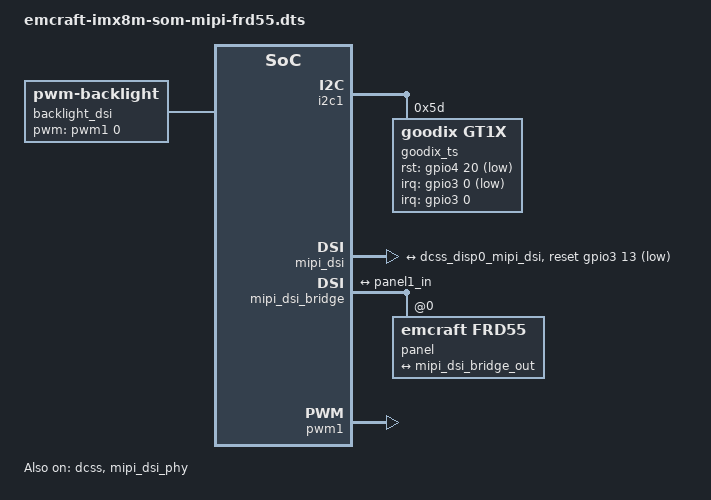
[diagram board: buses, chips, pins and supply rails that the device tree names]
/*
 * Copyright 2018 Emcraft Systems
 *
 * This program is free software; you can redistribute it and/or
 * modify it under the terms of the GNU General Public License
 * as published by the Free Software Foundation; either version 2
 * of the License, or (at your option) any later version.
 *
 * This program is distributed in the hope that it will be useful,
 * but WITHOUT ANY WARRANTY; without even the implied warranty of
 * MERCHANTABILITY or FITNESS FOR A PARTICULAR PURPOSE.  See the
 * GNU General Public License for more details.
 */

#include "emcraft-imx8m-som.dts"

/ {
	backlight_dsi {
		compatible = "pwm-backlight";
		pwms = <&pwm1 0 200000>;
		brightness-levels = <0 10 20 30 40 50 60 70 80 90>;
		/* Default brightness level (index into the array defined by the "brightness-levels" property) */
		default-brightness-level = <7>;
		status = "okay";
	};
};

&iomuxc {
	pinctrl-names = "default";

	imx8m-som {
		pinctrl_dsi: dsigrp {
			fsl,pins = <
				MX8MQ_IOMUXC_NAND_DATA07_GPIO3_IO13	0x16
			>;
		};
		pinctrl_pwm1: pwm1 {
			fsl,pins = <
				MX8MQ_IOMUXC_GPIO1_IO01_PWM1_OUT 0xc6
			>;
		};
		pinctrl_goodix_ts: gt1x {
			fsl,pins = <
				MX8MQ_IOMUXC_NAND_ALE_GPIO3_IO0		0x16	/* TOUCH INT */
				MX8MQ_IOMUXC_SAI1_MCLK_GPIO4_IO20	0x16	/* TOUCH RST */
			>;
		};
	};
};

&i2c1 {
	goodix_ts@5d {
		compatible = "goodix,gt1x";
		pinctrl-names = "default";
		pinctrl-0 = <&pinctrl_goodix_ts>;
		reg = <0x5d>;
		interrupt-parent = <&gpio3>;
		interrupts = <0  IRQ_TYPE_LEVEL_LOW>;
		goodix,rst-gpio = <&gpio4 20 GPIO_ACTIVE_LOW>;
		goodix,irq-gpio = <&gpio3 0 GPIO_ACTIVE_LOW>;
	};
};

&dcss {
	status = "okay";

	disp-dev = "mipi_disp";

	clocks = <&clk IMX8MQ_CLK_DISP_APB_ROOT>,
		 <&clk IMX8MQ_CLK_DISP_AXI_ROOT>,
		 <&clk IMX8MQ_CLK_DISP_RTRM_ROOT>,
		 <&clk IMX8MQ_CLK_DUMMY>,
		 <&clk IMX8MQ_CLK_DUMMY>,
		 <&clk IMX8MQ_CLK_DISP_DTRC>;
	clock-names = "apb", "axi", "rtrm", "pix_div", "pix_out", "dtrc";
	assigned-clocks = <&clk IMX8MQ_CLK_DC_PIXEL>,
			  <&clk IMX8MQ_CLK_DISP_AXI>,
			  <&clk IMX8MQ_CLK_DISP_RTRM>;
	assigned-clock-parents = <&clk IMX8MQ_VIDEO_PLL1_OUT>,
				 <&clk IMX8MQ_SYS1_PLL_800M>,
				 <&clk IMX8MQ_SYS1_PLL_800M>;
	assigned-clock-rates = <594000000>,
			       <800000000>,
			       <400000000>;

	dcss_disp0: port@0 {
		reg = <0>;
		dcss_disp0_mipi_dsi: mipi_dsi {
			remote-endpoint = <&mipi_dsi_in>;
		};
	};
};

&hdmi {
	status = "disabled";
};

&mipi_dsi_phy {
	status = "okay";
};

&mipi_dsi {
	status = "okay";

	pinctrl-names = "default";
	pinctrl-0 = <&pinctrl_dsi>;
	reset-gpios = <&gpio3 13 GPIO_ACTIVE_LOW>;

	assigned-clocks = <&clk IMX8MQ_CLK_DSI_PHY_REF>,
			  <&clk IMX8MQ_CLK_DSI_CORE>,
			  <&clk IMX8MQ_VIDEO_PLL1_REF_SEL>,
			  <&clk IMX8MQ_VIDEO_PLL1>;
	assigned-clock-parents = <&clk IMX8MQ_VIDEO_PLL1_OUT>,
				 <&clk IMX8MQ_SYS1_PLL_266M>,
				 <&clk IMX8MQ_CLK_25M>;
	assigned-clock-rates = <24000000>,
			       <266000000>,
			       <0>,
			       <599999999>;
	port@1 {
		mipi_dsi_in: endpoint {
			remote-endpoint = <&dcss_disp0_mipi_dsi>;
		};
	};
};

&mipi_dsi_bridge {
	status = "okay";
	panel@0 {
		compatible = "emcraft,frd55";
		reg = <0>;
		port {
			panel1_in: endpoint {
				remote-endpoint = <&mipi_dsi_bridge_out>;
			};
		};
	};
	port@1 {
		mipi_dsi_bridge_out: endpoint {
			remote-endpoint = <&panel1_in>;
		};
	};
};

&pwm1 {
	pinctrl-names = "default";
	pinctrl-0 = <&pinctrl_pwm1>;
	status = "okay";
};

